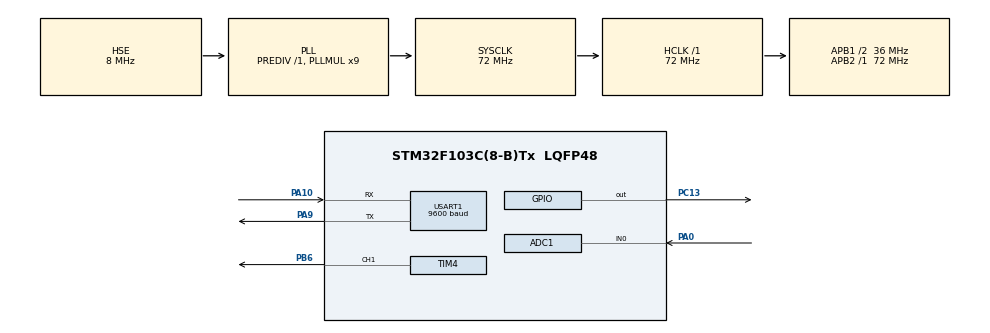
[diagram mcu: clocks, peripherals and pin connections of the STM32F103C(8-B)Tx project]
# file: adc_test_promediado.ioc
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Mcu.Family=STM32F1
RCC.PLLSourceVirtual=RCC_PLLSOURCE_HSE
NVIC.ADC1_2_IRQn=true\:0\:0\:false\:false\:true\:true\:true
ADC1.Rank-0\#ChannelRegularConversion=1
Dma.ADC1.1.MemDataAlignment=DMA_MDATAALIGN_HALFWORD
NVIC.DMA1_Channel5_IRQn=true\:0\:0\:false\:false\:true\:false\:true
Dma.USART1_RX.0.PeriphDataAlignment=DMA_PDATAALIGN_BYTE
PD1-OSC_OUT.Mode=HSE-External-Oscillator
PA10.Mode=Asynchronous
USART1.BaudRate=9600
PC13-TAMPER-RTC.Signal=GPIO_Output
RCC.USBPrescaler=RCC_USBCLKSOURCE_PLL_DIV1_5
PD0-OSC_IN.Signal=RCC_OSC_IN
RCC.APB1CLKDivider=RCC_HCLK_DIV2
RCC.SYSCLKSource=RCC_SYSCLKSOURCE_PLLCLK
ProjectManager.StackSize=0x400
PA0-WKUP.Signal=ADCx_IN0
PD1-OSC_OUT.Signal=RCC_OSC_OUT
RCC.ADCPresc=RCC_ADCPCLK2_DIV6
PA13.Signal=SYS_JTMS-SWDIO
PA9.Mode=Asynchronous
ProjectManager.TargetToolchain=STM32CubeIDE
Dma.ADC1.1.Instance=DMA1_Channel1
Dma.USART1_RX.0.Direction=DMA_PERIPH_TO_MEMORY
RCC.HCLKFreq_Value=72000000
RCC.APB2TimFreq_Value=72000000
TIM3.Period=1000 - 1
PA9.Signal=USART1_TX
PB6.Signal=S_TIM4_CH1
Dma.ADC1.1.PeriphDataAlignment=DMA_PDATAALIGN_HALFWORD
RCC.USBFreq_Value=48000000
TIM4.Prescaler=250 - 1
TIM4.OCMode_1=TIM_OCMODE_TOGGLE
RCC.AHBFreq_Value=72000000
Dma.USART1_RX.0.PeriphInc=DMA_PINC_DISABLE
Dma.USART1_RX.0.Priority=DMA_PRIORITY_LOW
PD0-OSC_IN.Mode=HSE-External-Oscillator
ADC1.Channel-0\#ChannelRegularConversion=ADC_CHANNEL_0
board=custom
TIM4.Pulse-Output\ Compare1\ CH1=50
RCC.PLLMUL=RCC_PLL_MUL9
RCC.APB2Freq_Value=72000000
PA14.Mode=Serial_Wire
TIM3.Prescaler=7200 - 1
Dma.ADC1.1.Priority=DMA_PRIORITY_LOW
Dma.USART1_RX.0.MemDataAlignment=DMA_MDATAALIGN_BYTE
Dma.ADC1.1.Mode=DMA_CIRCULAR
TIM4.Channel-Output\ Compare1\ CH1=TIM_CHANNEL_1
SH.ADCx_IN0.0=ADC1_IN0,IN0
Dma.ADC1.1.PeriphInc=DMA_PINC_DISABLE
TIM4.Period=151 - 1
ADC1.NbrOfConversion=1
Dma.USART1_RX.0.MemInc=DMA_MINC_ENABLE
PA13.Mode=Serial_Wire
Mcu.Name=STM32F103C(8-B)Tx
ADC1.SamplingTime-0\#ChannelRegularConversion=ADC_SAMPLETIME_13CYCLES_5
ADC1.ExternalTrigConv=ADC_EXTERNALTRIGCONV_T3_TRGO
RCC.SYSCLKFreq_VALUE=72000000
Mcu.Package=LQFP48
ADC1.master=1
Dma.ADC1.1.Direction=DMA_PERIPH_TO_MEMORY
USART1.VirtualMode=VM_ASYNC
Dma.ADC1.1.MemInc=DMA_MINC_ENABLE
PA10.Signal=USART1_RX
PA14.Signal=SYS_JTCK-SWCLK
ProjectManager.HeapSize=0x200
VP_TIM4_VS_ClockSourceINT.Mode=Internal
NVIC.PriorityGroup=NVIC_PRIORITYGROUP_4
ADC1.NbrOfConversionFlag=1
SH.S_TIM4_CH1.0=TIM4_CH1,Output Compare1 CH1
Dma.Request1=ADC1
RCC.APB1TimFreq_Value=72000000
Dma.USART1_RX.0.Mode=DMA_CIRCULAR
NVIC.DMA1_Channel1_IRQn=true\:0\:0\:false\:false\:true\:false\:true
TIM3.TIM_MasterOutputTrigger=TIM_TRGO_UPDATE
NVIC.USART1_IRQn=true\:0\:0\:false\:false\:true\:true\:true
Dma.Request0=USART1_RX
RCC.APB1Freq_Value=36000000
Dma.USART1_RX.0.Instance=DMA1_Channel5
VP_TIM3_VS_ClockSourceINT.Mode=Internal

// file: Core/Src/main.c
/* USER CODE BEGIN Header */
/**
  ******************************************************************************
  * @file           : main.c
  * @brief          : Main program body
  ******************************************************************************
  * @attention
  *
  * <h2><center>&copy; Copyright (c) 2021 STMicroelectronics.
  * All rights reserved.</center></h2>
  *
  * This software component is licensed by ST under Ultimate Liberty license
  * SLA0044, the "License"; You may not use this file except in compliance with
  * the License. You may obtain a copy of the License at:
  *                             www.st.com/SLA0044
  *
  ******************************************************************************
  */
/* USER CODE END Header */
#include "main.h"

/* USER CODE BEGIN Includes */
#include <stdio.h>
#include <string.h>
#include <stdlib.h>
/* USER CODE END Includes */

ADC_HandleTypeDef hadc1;
DMA_HandleTypeDef hdma_adc1;

TIM_HandleTypeDef htim3;
TIM_HandleTypeDef htim4;

UART_HandleTypeDef huart1;
DMA_HandleTypeDef hdma_usart1_rx;

void SystemClock_Config(void);
static void MX_GPIO_Init(void);
static void MX_DMA_Init(void);
static void MX_TIM3_Init(void);
static void MX_USART1_UART_Init(void);
static void MX_ADC1_Init(void);
static void MX_TIM4_Init(void);
/* USER CODE BEGIN PFP */

//esta función es llamada desde el main
void setAdcFreq(uint32_t fSample){
	if((fSample > 10) & (fSample < 500000)){
		const uint8_t period = 72;
		float  prescaler = 72.0E6/ (fSample * period);
		__HAL_TIM_SET_PRESCALER(&htim3, prescaler);
		__HAL_TIM_SET_AUTORELOAD(&htim3, period);
	}
}

void derivar(float * array, uint16_t * adc, uint16_t size, uint32_t fSample){
	float constant = 3.3 * fSample / 4095;
	for(int i = 0; i < size - 1; i++){
		float temp;
		temp = adc[i + 1] - adc[i];
		temp *= constant;
		array[i] = temp;
//		array[i] = (adc[i + 1] - adc[i]) * fSample * 3.3 / 4095;
		if(array[i] < 0)
			array[i] *= -1;
	}
}

float promediar(float * array, uint16_t size){
	float sum = 0;
	for(int i = 0; i < size - 1; i++){
		sum += array[i] / size;
	}
	return sum;
}

float estimar(float derivada){
	//constantes del electroimán
	const uint8_t N = 150;
	const float mu0 = 4 * 3.1415 * 1e-7;
	const float Kh = 1;
	const float A = 25e-4;
	const uint8_t Vbus = 24;
	const float Linf = 12e-3;
	float estimacion;
	//float derivada = 1000 * (corr_actual - corr_anterior);
	estimacion =  mu0 * N * N * A * derivada / (2 * (Kh * Vbus -  Linf * derivada));
	if(estimacion < 0)
		estimacion *= -1;
	return estimacion;
}

float obtenerCorrienteMedia(uint16_t * adc, uint16_t size){
	float sum = 0;
	for(int i= 0; i< size; i++){
		sum += adc[i] * 3.3 / (4095 * size * 0.05);
	}
	return sum;
}

/* USER CODE END PFP */

/* USER CODE BEGIN 0 */
#define adcSamples 50
uint16_t adcBuf[adcSamples];
uint8_t adcConverted = 0;
uint8_t printSamples = 0;
float derivadas[adcSamples];
float deriv_promedio;
float Yestimada;
float corriente_media;
uint32_t fSample = 50000;
/* USER CODE END 0 */

int main(void)
{

  /* MCU Configuration--------------------------------------------------------*/

  /* Reset of all peripherals, Initializes the Flash interface and the Systick. */
  HAL_Init();

  /* Configure the system clock */
  SystemClock_Config();

  /* Initialize all configured peripherals */
  MX_GPIO_Init();
  MX_DMA_Init();
  MX_TIM3_Init();
  MX_USART1_UART_Init();
  MX_ADC1_Init();
  MX_TIM4_Init();
  /* USER CODE BEGIN 2 */
  setAdcFreq(fSample);
  HAL_TIM_OC_Start(&htim4, TIM_CHANNEL_1);

  HAL_TIM_Base_Start(&htim3);				//inicio el timer 3 para comenzar las conversiones del ADC
  HAL_ADC_Start_DMA(&hadc1, (uint32_t*) adcBuf, adcSamples);	//inicio el ADC en modo DMA
    	  	  	  	  	  	  	  	  	  	  	  	  	  	  	//para que lea la cantidad adcSamples
	  	  	  	  	  	  	  	  	  	  	  	  	  	  	  	//y luego dispare una interrupción
  /* USER CODE END 2 */

  /* Infinite loop */
  while (1)
  {

    /* USER CODE BEGIN 3 */

	 if(adcConverted){
		 adcConverted = 0;
		 HAL_TIM_Base_Stop(&htim3);
		 corriente_media = obtenerCorrienteMedia(adcBuf, adcSamples);
		 derivar(derivadas, adcBuf, adcSamples, fSample);
		 deriv_promedio = promediar(derivadas, adcSamples);
		 Yestimada = estimar(deriv_promedio);

		 printSamples = 1;
	 }

	 if(printSamples){
		 printSamples = 0;
		/* char sendStr[20];
		 for(int i = 0; i < adcSamples; i++){
			 if(i != adcSamples - 1){
				 sprintf(sendStr, "%d,", adcBuf[i]);
			 }
			 else
				 sprintf(sendStr, "%d\r\n", adcBuf[i]);
			 HAL_UART_Transmit(&huart1,(uint8_t * ) sendStr, strlen(sendStr), 100);
			// HAL_Delay(10);
		 }
		 HAL_Delay(5000); */
		 HAL_Delay(500);
		 HAL_TIM_Base_Start(&htim3);
	 }

  }
  /* USER CODE END 3 */
}

void SystemClock_Config(void)
{
  RCC_OscInitTypeDef RCC_OscInitStruct = {0};
  RCC_ClkInitTypeDef RCC_ClkInitStruct = {0};
  RCC_PeriphCLKInitTypeDef PeriphClkInit = {0};

  /** Initializes the RCC Oscillators according to the specified parameters
  * in the RCC_OscInitTypeDef structure.
  */
  RCC_OscInitStruct.OscillatorType = RCC_OSCILLATORTYPE_HSE;
  RCC_OscInitStruct.HSEState = RCC_HSE_ON;
  RCC_OscInitStruct.HSEPredivValue = RCC_HSE_PREDIV_DIV1;
  RCC_OscInitStruct.HSIState = RCC_HSI_ON;
  RCC_OscInitStruct.PLL.PLLState = RCC_PLL_ON;
  RCC_OscInitStruct.PLL.PLLSource = RCC_PLLSOURCE_HSE;
  RCC_OscInitStruct.PLL.PLLMUL = RCC_PLL_MUL9;
  if (HAL_RCC_OscConfig(&RCC_OscInitStruct) != HAL_OK)
  {
    Error_Handler();
  }
  /** Initializes the CPU, AHB and APB buses clocks
  */
  RCC_ClkInitStruct.ClockType = RCC_CLOCKTYPE_HCLK|RCC_CLOCKTYPE_SYSCLK
                              |RCC_CLOCKTYPE_PCLK1|RCC_CLOCKTYPE_PCLK2;
  RCC_ClkInitStruct.SYSCLKSource = RCC_SYSCLKSOURCE_PLLCLK;
  RCC_ClkInitStruct.AHBCLKDivider = RCC_SYSCLK_DIV1;
  RCC_ClkInitStruct.APB1CLKDivider = RCC_HCLK_DIV2;
  RCC_ClkInitStruct.APB2CLKDivider = RCC_HCLK_DIV1;

  if (HAL_RCC_ClockConfig(&RCC_ClkInitStruct, FLASH_LATENCY_2) != HAL_OK)
  {
    Error_Handler();
  }
  PeriphClkInit.PeriphClockSelection = RCC_PERIPHCLK_ADC;
  PeriphClkInit.AdcClockSelection = RCC_ADCPCLK2_DIV6;
  if (HAL_RCCEx_PeriphCLKConfig(&PeriphClkInit) != HAL_OK)
  {
    Error_Handler();
  }
}

static void MX_ADC1_Init(void)
{

  ADC_ChannelConfTypeDef sConfig = {0};

  /** Common config
  */
  hadc1.Instance = ADC1;
  hadc1.Init.ScanConvMode = ADC_SCAN_DISABLE;
  hadc1.Init.ContinuousConvMode = DISABLE;
  hadc1.Init.DiscontinuousConvMode = DISABLE;
  hadc1.Init.ExternalTrigConv = ADC_EXTERNALTRIGCONV_T3_TRGO;
  hadc1.Init.DataAlign = ADC_DATAALIGN_RIGHT;
  hadc1.Init.NbrOfConversion = 1;
  if (HAL_ADC_Init(&hadc1) != HAL_OK)
  {
    Error_Handler();
  }
  /** Configure Regular Channel
  */
  sConfig.Channel = ADC_CHANNEL_0;
  sConfig.Rank = ADC_REGULAR_RANK_1;
  sConfig.SamplingTime = ADC_SAMPLETIME_13CYCLES_5;
  if (HAL_ADC_ConfigChannel(&hadc1, &sConfig) != HAL_OK)
  {
    Error_Handler();
  }

}

static void MX_TIM3_Init(void)
{

  TIM_ClockConfigTypeDef sClockSourceConfig = {0};
  TIM_MasterConfigTypeDef sMasterConfig = {0};

  htim3.Instance = TIM3;
  htim3.Init.Prescaler = 7200 - 1;
  htim3.Init.CounterMode = TIM_COUNTERMODE_UP;
  htim3.Init.Period = 1000 - 1;
  htim3.Init.ClockDivision = TIM_CLOCKDIVISION_DIV1;
  htim3.Init.AutoReloadPreload = TIM_AUTORELOAD_PRELOAD_DISABLE;
  if (HAL_TIM_Base_Init(&htim3) != HAL_OK)
  {
    Error_Handler();
  }
  sClockSourceConfig.ClockSource = TIM_CLOCKSOURCE_INTERNAL;
  if (HAL_TIM_ConfigClockSource(&htim3, &sClockSourceConfig) != HAL_OK)
  {
    Error_Handler();
  }
  sMasterConfig.MasterOutputTrigger = TIM_TRGO_UPDATE;
  sMasterConfig.MasterSlaveMode = TIM_MASTERSLAVEMODE_DISABLE;
  if (HAL_TIMEx_MasterConfigSynchronization(&htim3, &sMasterConfig) != HAL_OK)
  {
    Error_Handler();
  }

}

static void MX_TIM4_Init(void)
{

  TIM_ClockConfigTypeDef sClockSourceConfig = {0};
  TIM_MasterConfigTypeDef sMasterConfig = {0};
  TIM_OC_InitTypeDef sConfigOC = {0};

  htim4.Instance = TIM4;
  htim4.Init.Prescaler = 250 - 1;
  htim4.Init.CounterMode = TIM_COUNTERMODE_UP;
  htim4.Init.Period = 151 - 1;
  htim4.Init.ClockDivision = TIM_CLOCKDIVISION_DIV1;
  htim4.Init.AutoReloadPreload = TIM_AUTORELOAD_PRELOAD_DISABLE;
  if (HAL_TIM_Base_Init(&htim4) != HAL_OK)
  {
    Error_Handler();
  }
  sClockSourceConfig.ClockSource = TIM_CLOCKSOURCE_INTERNAL;
  if (HAL_TIM_ConfigClockSource(&htim4, &sClockSourceConfig) != HAL_OK)
  {
    Error_Handler();
  }
  if (HAL_TIM_OC_Init(&htim4) != HAL_OK)
  {
    Error_Handler();
  }
  sMasterConfig.MasterOutputTrigger = TIM_TRGO_RESET;
  sMasterConfig.MasterSlaveMode = TIM_MASTERSLAVEMODE_DISABLE;
  if (HAL_TIMEx_MasterConfigSynchronization(&htim4, &sMasterConfig) != HAL_OK)
  {
    Error_Handler();
  }
  sConfigOC.OCMode = TIM_OCMODE_TOGGLE;
  sConfigOC.Pulse = 50;
  sConfigOC.OCPolarity = TIM_OCPOLARITY_HIGH;
  sConfigOC.OCFastMode = TIM_OCFAST_DISABLE;
  if (HAL_TIM_OC_ConfigChannel(&htim4, &sConfigOC, TIM_CHANNEL_1) != HAL_OK)
  {
    Error_Handler();
  }
  HAL_TIM_MspPostInit(&htim4);

}

static void MX_USART1_UART_Init(void)
{

  huart1.Instance = USART1;
  huart1.Init.BaudRate = 9600;
  huart1.Init.WordLength = UART_WORDLENGTH_8B;
  huart1.Init.StopBits = UART_STOPBITS_1;
  huart1.Init.Parity = UART_PARITY_NONE;
  huart1.Init.Mode = UART_MODE_TX_RX;
  huart1.Init.HwFlowCtl = UART_HWCONTROL_NONE;
  huart1.Init.OverSampling = UART_OVERSAMPLING_16;
  if (HAL_UART_Init(&huart1) != HAL_OK)
  {
    Error_Handler();
  }

}

static void MX_DMA_Init(void)
{

  /* DMA controller clock enable */
  __HAL_RCC_DMA1_CLK_ENABLE();

  /* DMA interrupt init */
  /* DMA1_Channel1_IRQn interrupt configuration */
  HAL_NVIC_SetPriority(DMA1_Channel1_IRQn, 0, 0);
  HAL_NVIC_EnableIRQ(DMA1_Channel1_IRQn);
  /* DMA1_Channel5_IRQn interrupt configuration */
  HAL_NVIC_SetPriority(DMA1_Channel5_IRQn, 0, 0);
  HAL_NVIC_EnableIRQ(DMA1_Channel5_IRQn);

}

static void MX_GPIO_Init(void)
{
  GPIO_InitTypeDef GPIO_InitStruct = {0};

  /* GPIO Ports Clock Enable */
  __HAL_RCC_GPIOC_CLK_ENABLE();
  __HAL_RCC_GPIOD_CLK_ENABLE();
  __HAL_RCC_GPIOA_CLK_ENABLE();
  __HAL_RCC_GPIOB_CLK_ENABLE();

  /*Configure GPIO pin Output Level */
  HAL_GPIO_WritePin(GPIOC, GPIO_PIN_13, GPIO_PIN_RESET);

  /*Configure GPIO pin : PC13 */
  GPIO_InitStruct.Pin = GPIO_PIN_13;
  GPIO_InitStruct.Mode = GPIO_MODE_OUTPUT_PP;
  GPIO_InitStruct.Pull = GPIO_NOPULL;
  GPIO_InitStruct.Speed = GPIO_SPEED_FREQ_LOW;
  HAL_GPIO_Init(GPIOC, &GPIO_InitStruct);

}

/* USER CODE BEGIN 4 */

//callback para cuando finalizan las conversiones del ADC
void HAL_ADC_ConvCpltCallback(ADC_HandleTypeDef * hadc){
	if(hadc->Instance == hadc1.Instance){
		adcConverted = 1;					//activo el flag del adc1
	}
}

/* USER CODE END 4 */

void Error_Handler(void)
{
  __disable_irq();
  while (1)
  {
  }
}

/************************ (C) COPYRIGHT STMicroelectronics *****END OF FILE****/
